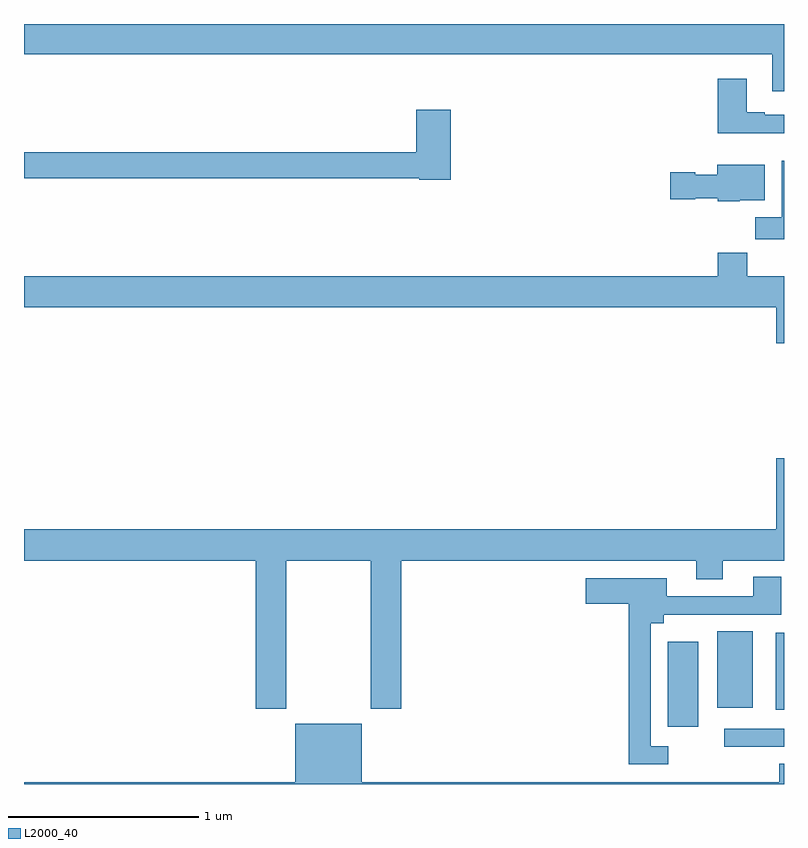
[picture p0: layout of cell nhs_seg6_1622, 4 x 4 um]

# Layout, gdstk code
import gdstk
lib = gdstk.Library(unit=1e-6, precision=1e-09)
def R(c, l, rs):  # rectangles x0, y0, x1, y1
    for r in rs: c.add(gdstk.rectangle(r[:2], r[2:], *l))
def P(c, l, *ps):  # polygons
    for p in ps: c.add(gdstk.Polygon(p, *l))
L2000_40 = (2000, 40)

nhs_seg6_1622 = lib.new_cell('nhs_seg6_1622')
R(nhs_seg6_1622, L2000_40, [(212.685,939.696,213,939.792), (212.387,939.801,212.548,940.249), (212.957,939.89,213,940.297), (212.648,939.902,212.836,940.303)])
P(nhs_seg6_1622, L2000_40, [(213,943.5),(209,943.5),(209,943.34),(212.939,943.34),(212.939,943.146),(213,943.146)],
  [(213,943.023),(212.899,943.023),(212.899,943.036),(212.803,943.036),(212.803,943.213),(212.651,943.213),(212.651,942.926),(213,942.926)],
  [(211.247,943.048),(211.064,943.048),(211.064,942.824),(209,942.824),(209,942.688),(211.08,942.688),(211.08,942.68),(211.247,942.68)],
  [(213,942.781),(212.987,942.781),(212.987,942.484),(212.848,942.484),(212.848,942.366),(213,942.366)],
  [(212.766,942.572),(212.899,942.572),(212.899,942.76),(212.648,942.76),(212.648,942.706),(212.532,942.706),(212.532,942.719),(212.4,942.719),(212.4,942.577),(212.532,942.577),(212.532,942.584),(212.652,942.584),(212.652,942.566),(212.766,942.566)],
  [(213,942.172),(212.807,942.172),(212.807,942.296),(212.651,942.296),(212.651,942.172),(209,942.172),(209,942.008),(212.96,942.008),(212.96,941.82),(213,941.82)],
  [(210.381,940.676),(210.826,940.676),(210.826,939.897),(210.986,939.897),(210.986,940.676),(212.537,940.676),(212.537,940.577),(212.677,940.577),(212.677,940.676),(213,940.676),(213,941.215),(212.96,941.215),(212.96,940.84),(209,940.84),(209,940.676),(210.221,940.676),(210.221,939.897),(210.381,939.897)],
  [(212.392,939.699),(212.298,939.699),(212.298,940.346),(212.368,940.346),(212.368,940.392),(212.985,940.392),(212.985,940.591),(212.837,940.591),(212.837,940.488),(212.383,940.488),(212.383,940.582),(211.956,940.582),(211.956,940.448),(212.182,940.448),(212.182,939.603),(212.392,939.603)],
  [(213,939.607),(212.975,939.607),(212.975,939.508),(210.778,939.508),(210.778,939.817),(210.428,939.817),(210.428,939.508),(209,939.508),(209,939.5),(213,939.5)])

lib.write_gds('nhs_seg6_1622.gds')
